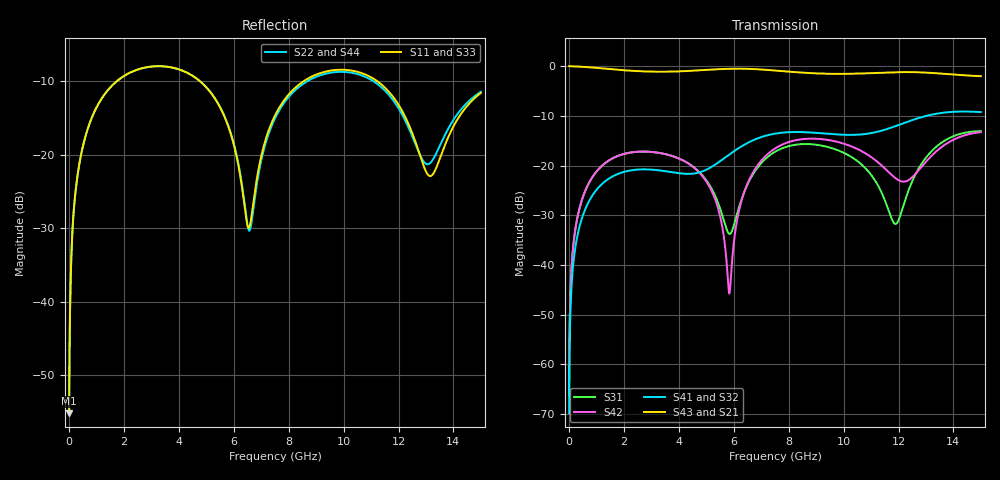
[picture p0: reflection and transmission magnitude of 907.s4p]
! Created with skrf 1.8.0 (http://scikit-rf.org).
# GHz S RI R 50.0
!freq ReS11 ImS11 ReS12 ImS12 ReS13 ImS13
! ReS14 ImS14
! ReS21 ImS21 ReS22 ImS22 ReS23 ImS23
! ReS24 ImS24
! ReS31 ImS31 ReS32 ImS32 ReS33 ImS33
! ReS34 ImS34
! ReS41 ImS41 ReS42 ImS42 ReS43 ImS43
! ReS44 ImS44
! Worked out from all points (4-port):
!   2499 points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, 5 MHz to 15 GHz, reference 50 ohm
!   strongest paths, dB at 5 MHz, 3.476 GHz, 7.19 GHz, 11.1 GHz, 15 GHz:
!     S43: 0.0, -1.1, -0.8, -1.4, -2.0
!     S21: 0.0, -1.1, -0.8, -1.4, -2.0
!     S41: -69.8, -21.1, -14.0, -13.4, -9.2
!     S32: -69.8, -21.1, -14.0, -13.4, -9.3
!     S42: -66.1, -17.7, -17.9, -18.7, -13.3
!     S31: -66.1, -17.7, -18.5, -22.6, -13.1
!   lowest |S11| = -55.2 dB at 5 MHz (marker M1), VSWR 1.00, Z = 50.1 + j0.106 ohm
!   |S11| at or under -10 dB: start of sweep to 1.737 GHz; 4.774 GHz to 8.539 GHz (3.765 GHz wide, 56.6 % of centre); 11.23 GHz to end of sweep
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0.005  0.00138 0.00105  0.9986 -0.00268  6.65e-05 0.000492  -6.5e-05 -0.000316
       0.9986 -0.00268  0.00138 0.00105  -6.5e-05 -0.000316  6.65e-05 0.000492
       6.65e-05 0.000492  -6.5e-05 -0.000316  0.00138 0.00105  0.9986 -0.00268
       -6.5e-05 -0.000316  6.65e-05 0.000492  0.9986 -0.00268  0.00138 0.00105
0.3626511  0.0223 0.0804  0.9694 -0.1933  0.00945 0.034  -0.00798 -0.0217
           0.9694 -0.1933  0.0223 0.0804  -0.00797 -0.0217  0.00949 0.034
           0.00945 0.034  -0.00797 -0.0217  0.0223 0.0804  0.9694 -0.1933
           -0.00798 -0.0217  0.00949 0.034  0.9694 -0.1933  0.0223 0.0804
1.725719  0.2511 0.1901  0.5937 -0.705  0.1081 0.0592  -0.0801 -0.0132
          0.5937 -0.705  0.251 0.1902  -0.08 -0.0133  0.1084 0.0588
          0.1081 0.0592  -0.08 -0.0133  0.2512 0.19  0.5937 -0.705
          -0.0801 -0.0132  0.1084 0.0588  0.5937 -0.705  0.251 0.1902
5.839933  0.0748 -0.1283  -0.8608 -0.3776  -0.0195 -0.00648  -0.0477 0.1201
          -0.8608 -0.3776  0.0749 -0.1305  -0.049 0.1196  -0.00511 -0.00077
          -0.0195 -0.00648  -0.049 0.1196  0.0749 -0.128  -0.8609 -0.3775
          -0.0477 0.1201  -0.00511 -0.00077  -0.8609 -0.3775  0.0745 -0.1304
6.465194  0.0314 -0.0171  -0.9358 -0.0855  -0.0128 0.0601  -0.011 0.1663
          -0.9358 -0.0855  0.0302 -0.021  -0.0127 0.1661  0.00945 0.0616
          -0.0128 0.0601  -0.0127 0.1661  0.0319 -0.0166  -0.9358 -0.0852
          -0.011 0.1663  0.00945 0.0616  -0.9358 -0.0852  0.0296 -0.0208
10.49812  0.3557 -0.0924  0.1537 0.8272  0.089 -0.0668  0.186 -0.0843
          0.1537 0.8272  0.3466 -0.0757  0.1867 -0.0796  0.0826 -0.1215
          0.089 -0.0668  0.1867 -0.0796  0.3572 -0.0955  0.1536 0.8266
          0.186 -0.0843  0.0826 -0.1215  0.1536 0.8266  0.3482 -0.073
15  0.2406 0.1083  0.578 -0.54  0.2102 0.0701  -0.2848 -0.1946
    0.578 -0.54  0.2492 0.0994  -0.279 -0.2006  0.2092 0.0575
    0.2102 0.0701  -0.279 -0.2006  0.2411 0.1087  0.5783 -0.5402
    -0.2848 -0.1946  0.2092 0.0575  0.5783 -0.5402  0.2469 0.0971
